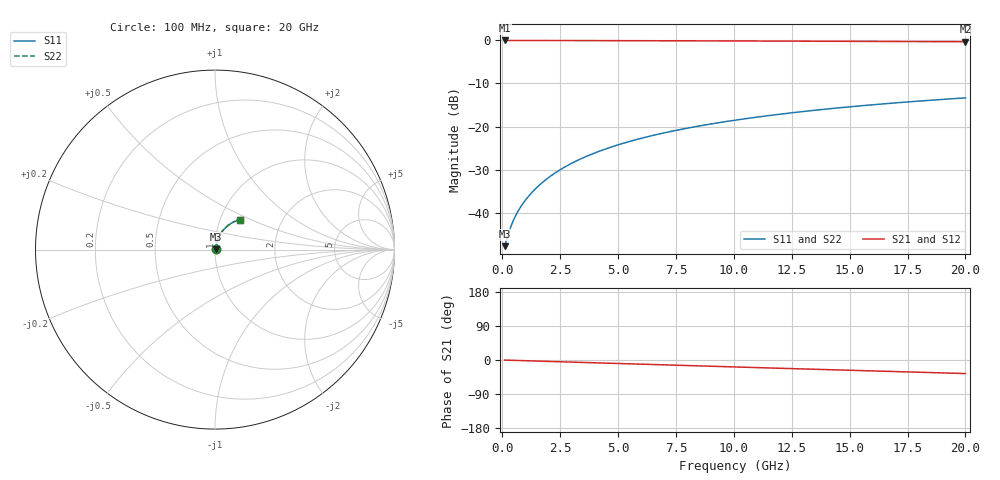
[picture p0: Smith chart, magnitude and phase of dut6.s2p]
! Touchstone file exported from HFSS 2026.1.0
!  File:  C:/ffzhzh/LocalFiles/Ansys_Project_Files/temp_train_TMRDL_6_1782879795_39248.aedt
!  Generated:  12:24:45 PM Jul  1, 2026
!  Design:  TMRDL
!  Project:  temp_train_TMRDL_6_1782879795_39248
! Variables:
!  h_bsmrdl = 2um
!  h_ox = 20um
!  h_rdl = 5um
!  h_sub = 80um
!  h_tmrdl = 2.8um
!  h_tsv = 80um
!  h_via = 3um
!  l_bsmrdl = 300um
!  l_sub = 985.67um
!  l_tmrdl = 585.67um
!  m_sub = 200um
!  pitch = 31.25um
!  r_tsv = 6um
!  s_tmrdl = 10um
!  w_bsmrdl = 18um
!  w_sub = 500um
!  w_tmrdl = 20.67um
!  x_tsv_center1 = 596.005um
!  x_tsv_center2 = 914.005um
!  x_tsv_center3 = 1520.345um
!  x_tsv_center4 = 1838.345um
!  x_tsv_center5 = 2444.685um
!  x_tsv_center6 = 2762.685um
# GHz S MA R 50.000000
! Terminal data exported
! Port[1] = TM_RDL1_1_T1
! Port[2] = TM_RDL1_1_T2
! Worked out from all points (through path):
!   200 points, 100 MHz to 20 GHz, reference 50 ohm
!   highest |S21| = -0.03 dB at 100 MHz (marker M1); lowest = -0.3 dB at 20 GHz (marker M2)
!   group delay of S21, straight-line fit = 4.96 ps
!   lowest |S11| = -47.7 dB at 100 MHz (marker M3), VSWR 1.01, Z = 50.4 + j0.157 ohm
!   |S11| at or under -10 dB: start of sweep to end of sweep
!   |S22| runs from -47.7 to -13.3 dB; largest |S21 - S12| = 4e-15
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0.1  0.004133 22.2  0.9962 -0.2  0.9962 -0.2  0.004133 22.2
! Gamma 0 0 0 0
! Port Impedance 50 0 50 0
0.3  0.006164 46.3  0.9958 -0.6  0.9958 -0.6  0.006164 46.3
0.4  0.007324 51.9  0.9955 -0.8  0.9955 -0.8  0.007324 51.9
0.6  0.009608 58.8  0.9952 -1.2  0.9952 -1.2  0.009609 58.8
0.7  0.01073 61.2  0.995 -1.3  0.995 -1.3  0.01073 61.2
0.9  0.01298 64.9  0.9948 -1.7  0.9948 -1.7  0.01298 64.9
1.2  0.0164 68.7  0.9945 -2.3  0.9945 -2.3  0.0164 68.7
1.4  0.01871 70.4  0.9944 -2.6  0.9944 -2.6  0.01871 70.4
1.7  0.02222 72.3  0.9942 -3.2  0.9942 -3.2  0.02222 72.3
2.2  0.02815 74.1  0.9939 -4.1  0.9939 -4.1  0.02815 74.1
2.8  0.03532 75.1  0.9935 -5.2  0.9935 -5.2  0.03533 75.1
3.5  0.04371 75.4  0.9929 -6.5  0.9929 -6.5  0.04372 75.3
4.2  0.05208 75.1  0.9922 -7.8  0.9922 -7.8  0.05208 75.0
5  0.06158 74.4  0.9913 -9.3  0.9913 -9.3  0.06158 74.3
5.9  0.07215 73.3  0.9901 -10.9  0.9901 -10.9  0.07215 73.3
6.8  0.08258 72.1  0.9888 -12.5  0.9888 -12.5  0.08258 72.0
8.3  0.0996 69.8  0.9864 -15.3  0.9864 -15.3  0.09961 69.8
10.1  0.1194 66.9  0.9832 -18.5  0.9832 -18.5  0.1194 66.9
11.7  0.1364 64.3  0.9801 -21.3  0.9801 -21.3  0.1365 64.3
13.4  0.1539 61.5  0.9767 -24.3  0.9767 -24.3  0.1539 61.4
16.7  0.186 56.1  0.9698 -30.1  0.9698 -30.1  0.186 56.0
20  0.2155 50.7  0.9626 -35.8  0.9626 -35.8  0.2155 50.6
